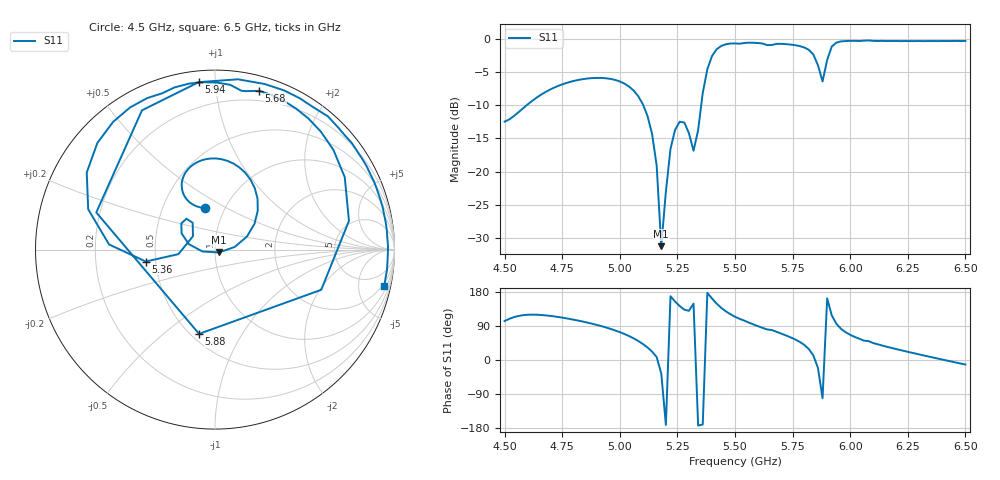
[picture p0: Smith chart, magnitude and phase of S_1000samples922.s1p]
! TOUCHSTONE file generated by CST MICROWAVE STUDIO
! Date and time: Sat Oct 29 19:47:40 2022
! Project name: L.cst
! Parameters = {Di=1.27; Epsilon_r=1.56; InnerDiameter=1.27; Length=2; Lf=10; Lg=60; OuterConductorThickness=0.2921; OuterDiameter=3.6; Wf=3; Wp=41.2; de=1.5; df=6.8; g=0.8; gx=1.35774; gy=2.92887; h=2.34; hf=1.524; px=14.9908; py=8.04796; w=9.7; wx=13.633; wy=5.11909}
! Header version: 2018
! Port assignment regex: !\s*Touchstone port\s*([0-9]+)\s*=\s*(CST MWS port|CST DS port)\s*([0-9]+|Zmin|Zmax)\s*\(\"(.*)\"\)(\s*mode\s*([0-9]+))?.*
! Touchstone port assignment:
! Touchstone port 1 = CST MWS port 1 ("")
# GHz S DB R 50
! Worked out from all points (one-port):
!   101 points, 4.5 GHz to 6.5 GHz, reference 50 ohm
!   lowest |S11| = -31.2 dB at 5.18 GHz (marker M1), VSWR 1.06, Z = 52.2 - j1.67 ohm
!   |S11| at or under -10 dB: start of sweep to 4.596 GHz; 5.102 GHz to 5.353 GHz (251.5 MHz wide, 4.81 % of centre)
!   S11 on the Smith chart (normalised r, x): 4.5 GHz: 0.81, +0.40; 5.36 GHz: 0.44, -0.07; 5.68 GHz: 0.12, +1.31; 5.88 GHz: 0.55, -0.67; 5.94 GHz: 0.06, +0.91; 6.5 GHz: 1.59, -9.26
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4.5  -12.46 102.9
4.76  -6.73 110.8
5  -6.42 73.5
5.08  -8.63 50.2
5.14  -14.31 22.2
5.16  -19.10 7.7
5.18  -31.24 -35.7
5.22  -16.58 168.3
5.26  -12.49 142.3
5.32  -16.86 148.7
5.36  -8.14 -170.2
5.4  -2.60 162.4
5.42  -1.58 149.0
5.46  -0.81 128.6
5.5  -0.68 114.1
5.68  -0.75 74.5
5.76  -0.94 54.6
5.8  -1.28 40.1
5.84  -2.35 12.1
5.86  -3.97 -20.7
5.88  -6.41 -100.7
5.9  -3.18 162.6
5.92  -1.15 117.7
5.94  -0.56 95.5
6  -0.29 66.5
6.06  -0.27 51.1
6.26  -0.33 20.1
6.5  -0.31 -12.0
